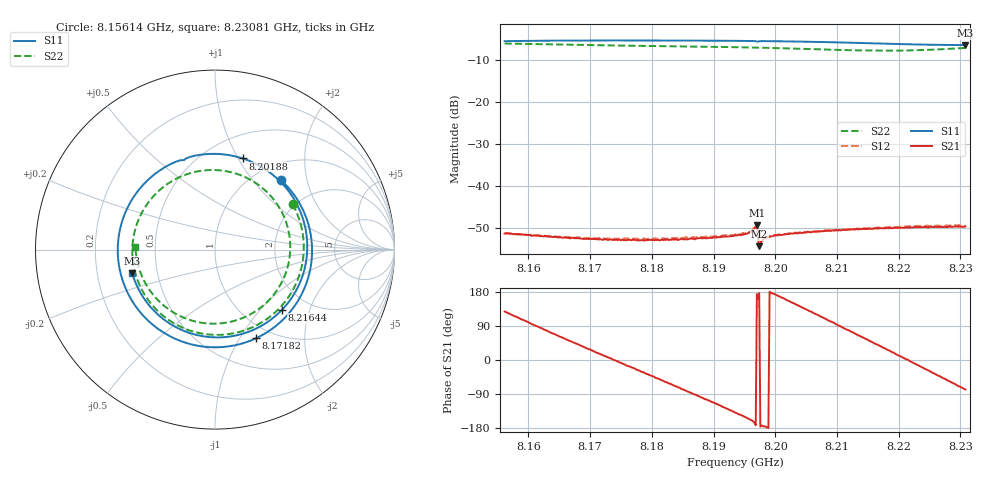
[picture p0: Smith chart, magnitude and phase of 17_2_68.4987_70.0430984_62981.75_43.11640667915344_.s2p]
#  HZ  S  RI  R  50.00
! Rohde & Schwarz Vector Network Analyzer
! Rohde-Schwarz,ZNB20-2Port,1311601062101988,3.16
! Created: UTC 3/20/2024, 5:04:25 PM
! freq[Hz]  re:S11  im:S11  re:S21  im:S21  re:S12  im:S12  re:S22  im:S22
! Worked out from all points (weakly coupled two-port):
!   401 points, 8.15614 GHz to 8.23081 GHz, reference 50 ohm
!   highest |S21| = -49.36 dB at 8.19702 GHz (marker M1); lowest = -54.4 dB at 8.1974 GHz (marker M2)
!   lowest |S11| = -6.4 dB at 8.23081 GHz (marker M3), VSWR 2.84, Z = 17.9 - j6.12 ohm
!   |S11| at or under -10 dB: nowhere
!   |S22| runs from -7.7 to -6.0 dB; largest |S21 - S12| = 0.00024
!   S11 on the Smith chart (normalised r, x): 8.15614 GHz: 1.29, +1.40; 8.17182 GHz: 0.84, -1.18; 8.20188 GHz: 0.74, +1.04; 8.21644 GHz: 1.48, -1.33; 8.23081 GHz: 0.36, -0.12
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8.156137e9  0.3654 0.3893  -0.00165 0.00212  -0.00168 0.00215  0.432 0.2532
8.162484e9  0.5406 0.013  0.000409 0.00245  0.000409 0.00252  0.476 -0.1214
8.168645e9  0.4012 -0.3671  0.00187 0.0014  0.0019 0.00146  0.2612 -0.405
8.171819e9  0.229 -0.4939  0.00221 0.000565  0.00224 0.000609  0.0899 -0.4687
8.176487e9  -0.0823 -0.538  0.00215 -0.000687  0.0022 -0.000728  -0.1718 -0.4386
8.181154e9  -0.368 -0.4001  0.00144 -0.00172  0.00145 -0.00181  -0.3749 -0.2767
8.187315e9  -0.5416 -0.0204  -0.000139 -0.00235  -0.000227 -0.00242  -0.4571 0.0488
8.190302e9  -0.5081 0.1847  -0.000988 -0.0022  -0.00108 -0.00224  -0.4072 0.2063
8.193476e9  -0.39 0.3719  -0.00192 -0.00169  -0.002 -0.00168  -0.2958 0.3423
8.19665e9  -0.203 0.4948  -0.00301 -0.000763  -0.00311 -0.000632  -0.1394 0.4254
8.197023e9  -0.1762 0.4983  -0.00339 0.000358  -0.00344 0.000453  -0.119 0.4307
8.197396e9  -0.1605 0.508  -0.0019 0.000105  -0.00194 0.000225  -0.0988 0.4353
8.19777e9  -0.1339 0.5178  -0.00216 -0.000255  -0.00217 -0.000177  -0.0781 0.439
8.201877e9  0.154 0.508  -0.00246 0.001  -0.00243 0.00108  0.1517 0.4107
8.205984e9  0.3926 0.3478  -0.00166 0.00229  -0.0016 0.00235  0.3373 0.2656
8.211212e9  0.514 0.00388  0.000352 0.00296  0.000388 0.00298  0.4172 -0.0308
8.216439e9  0.3731 -0.3357  0.00233 0.00205  0.00241 0.00201  0.2671 -0.3131
8.218493e9  0.256 -0.4262  0.00282 0.00132  0.00297 0.00121  0.1536 -0.3814
8.22148e9  0.0504 -0.488  0.00316 3.59e-05  0.00328 -0.000137  -0.04 -0.4116
8.224281e9  -0.1494 -0.462  0.00296 -0.00129  0.00299 -0.00141  -0.22 -0.3568
8.227828e9  -0.3593 -0.3197  0.00192 -0.0026  0.0019 -0.00278  -0.3895 -0.1843
8.230815e9  -0.4607 -0.1317  0.000696 -0.0032  0.000525 -0.00327  -0.4433 0.0159
